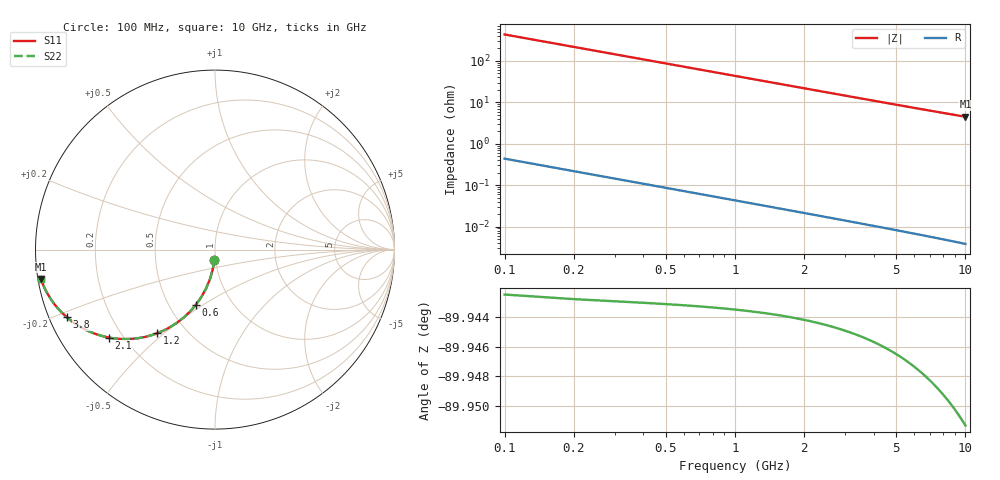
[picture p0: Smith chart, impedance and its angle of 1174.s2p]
# Hz S RI R 50.00
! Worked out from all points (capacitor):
!   100 points, 100 MHz to 10 GHz, reference 50 ohm
!   read as one part in shunt: C = 3.65 pF near 100 MHz
!   lowest |Z| = 4.49 ohm at 10 GHz (marker M1)
!   S11 on the Smith chart (normalised r, x): 100 MHz: 0.99, -0.11; 600 MHz: 0.68, -0.47; 1.2 GHz: 0.35, -0.47; 2.1 GHz: 0.15, -0.35; 3.8 GHz: 0.05, -0.22; 10 GHz: 0.01, -0.08
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1e8  -0.00331 -0.0571  0.9966 -0.0573  0.9966 -0.0573  -0.00331 -0.0571
2e8  -0.0131 -0.1132  0.9869 -0.1134  0.9869 -0.1134  -0.0131 -0.1132
3e8  -0.0289 -0.167  0.971 -0.1673  0.971 -0.1673  -0.0289 -0.167
4e8  -0.0502 -0.2177  0.9497 -0.2182  0.9497 -0.2182  -0.0502 -0.2177
5e8  -0.0763 -0.2647  0.9237 -0.2652  0.9237 -0.2652  -0.0763 -0.2647
6e8  -0.1062 -0.3073  0.8937 -0.308  0.8937 -0.308  -0.1062 -0.3073
7e8  -0.1392 -0.3452  0.8608 -0.346  0.8608 -0.346  -0.1392 -0.3452
9e8  -0.2107 -0.4069  0.7892 -0.4079  0.7892 -0.4079  -0.2107 -0.4069
1.2e9  -0.3217 -0.466  0.6782 -0.4673  0.6782 -0.4673  -0.3217 -0.466
1.5e9  -0.4255 -0.4931  0.5745 -0.4948  0.5745 -0.4948  -0.4255 -0.4931
1.8e9  -0.5159 -0.4982  0.484 -0.5003  0.484 -0.5003  -0.5159 -0.4982
2.1e9  -0.5918 -0.4898  0.4082 -0.4922  0.4082 -0.4922  -0.5918 -0.4898
2.4e9  -0.6543 -0.4737  0.3457 -0.4764  0.3457 -0.4764  -0.6543 -0.4737
2.7e9  -0.7054 -0.4538  0.2946 -0.4569  0.2946 -0.4569  -0.7054 -0.4538
3e9  -0.7471 -0.4325  0.2528 -0.4358  0.2528 -0.4358  -0.7471 -0.4325
3.4e9  -0.7913 -0.4039  0.2086 -0.4078  0.2086 -0.4078  -0.7913 -0.4039
3.8e9  -0.8256 -0.3768  0.1743 -0.3811  0.1743 -0.3811  -0.8256 -0.3768
4.4e9  -0.8638 -0.3399  0.1361 -0.3449  0.1361 -0.3449  -0.8638 -0.3399
5.1e9  -0.8949 -0.3032  0.105 -0.309  0.105 -0.309  -0.8949 -0.3032
6.7e9  -0.9363 -0.2399  0.0637 -0.2475  0.0637 -0.2475  -0.9363 -0.2399
8.4e9  -0.9585 -0.194  0.0414 -0.2036  0.0414 -0.2036  -0.9585 -0.194
1e10  -0.9704 -0.163  0.0295 -0.1746  0.0295 -0.1746  -0.9704 -0.163
